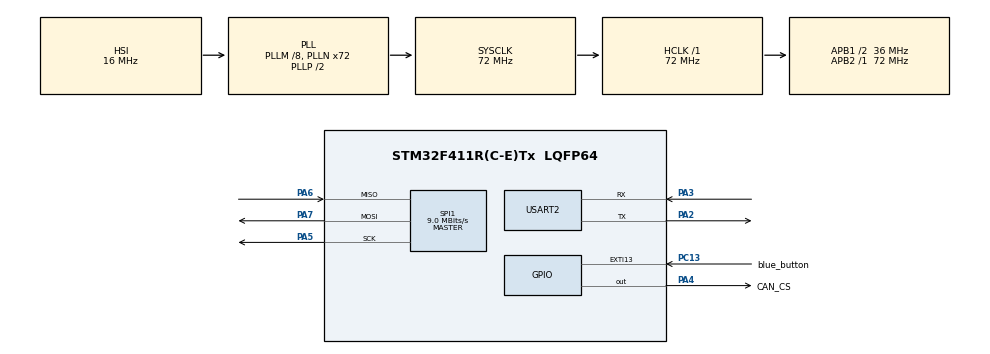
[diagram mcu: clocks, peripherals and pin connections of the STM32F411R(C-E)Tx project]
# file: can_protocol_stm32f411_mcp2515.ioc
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Mcu.Family=STM32F4
Mcu.Name=STM32F411R(C-E)Tx
Mcu.Package=LQFP64
NVIC.EXTI15_10_IRQn=true\:0\:0\:false\:false\:true\:true\:true\:true
NVIC.PriorityGroup=NVIC_PRIORITYGROUP_4
PA13.Mode=Serial_Wire
PA13.Signal=SYS_JTMS-SWDIO
PA14.Mode=Serial_Wire
PA14.Signal=SYS_JTCK-SWCLK
PA2.Mode=Asynchronous
PA2.Signal=USART2_TX
PA3.Mode=Asynchronous
PA3.Signal=USART2_RX
PA4.GPIO_Label=CAN_CS
PA4.GPIO_Speed=GPIO_SPEED_FREQ_MEDIUM
PA4.PinState=GPIO_PIN_SET
PA4.Signal=GPIO_Output
PA5.Mode=Full_Duplex_Master
PA5.Signal=SPI1_SCK
PA6.Mode=Full_Duplex_Master
PA6.Signal=SPI1_MISO
PA7.Mode=Full_Duplex_Master
PA7.Signal=SPI1_MOSI
PC13-ANTI_TAMP.GPIO_Label=blue_button
PC13-ANTI_TAMP.GPIO_ModeDefaultEXTI=GPIO_MODE_IT_FALLING
PC13-ANTI_TAMP.GPIO_PuPd=GPIO_PULLUP
PC13-ANTI_TAMP.Signal=GPXTI13
ProjectManager.HeapSize=0x200
ProjectManager.StackSize=0x400
ProjectManager.TargetToolchain=STM32CubeIDE
RCC.48MHZClocksFreq_Value=36000000
RCC.AHBFreq_Value=72000000
RCC.APB1CLKDivider=RCC_HCLK_DIV2
RCC.APB1Freq_Value=36000000
RCC.APB1TimFreq_Value=72000000
RCC.APB2Freq_Value=72000000
RCC.APB2TimFreq_Value=72000000
RCC.CortexFreq_Value=72000000
RCC.HCLKFreq_Value=72000000
RCC.HSE_VALUE=25000000
RCC.HSI_VALUE=16000000
RCC.LSE_VALUE=32768
RCC.PLLM=8
RCC.PLLN=72
RCC.SYSCLKFreq_VALUE=72000000
RCC.SYSCLKSource=RCC_SYSCLKSOURCE_PLLCLK
RCC.VCOOutputFreq_Value=144000000
SPI1.BaudRatePrescaler=SPI_BAUDRATEPRESCALER_8
SPI1.CalculateBaudRate=9.0 MBits/s
SPI1.Direction=SPI_DIRECTION_2LINES
SPI1.Mode=SPI_MODE_MASTER
SPI1.VirtualType=VM_MASTER
USART2.VirtualMode=VM_ASYNC
board=custom

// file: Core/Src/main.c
/* USER CODE BEGIN Header */
/**
  ******************************************************************************
  * @file           : main.c
  * @brief          : Main program body
  ******************************************************************************
  * @attention
  *
  * Copyright (c) 2025 STMicroelectronics.
  * All rights reserved.
  *
  * This software is licensed under terms that can be found in the LICENSE file
  * in the root directory of this software component.
  * If no LICENSE file comes with this software, it is provided AS-IS.
  *
  ******************************************************************************
  */
/* USER CODE END Header */
#include "main.h"

/* USER CODE BEGIN Includes */
#include <stdio.h>
#include "CANSPI.h"
/* USER CODE END Includes */

/* USER CODE BEGIN PD */
#ifdef __GNUC__
/* With GCC, small printf (option LD Linker->Libraries->Small printf
   set to 'Yes') calls __io_putchar() */
#define PUTCHAR_PROTOTYPE int __io_putchar(int ch)
#else
#define PUTCHAR_PROTOTYPE int fputc(int ch, FILE *f)
#endif /* __GNUC__ */

#define MCP2515_EFLG      0x2D
#define MCP2515_TEC       0x1C
#define MCP2515_REC       0x1D
#define MCP2515_TXB0CTRL  0x30
#define MCP2515_CANINTF   0x2C
#define MCP2515_CANCTRL   0x0F
#define MCP2515_CANSTAT   0x0E

/* USER CODE END PD */

SPI_HandleTypeDef hspi1;

UART_HandleTypeDef huart2;

/* USER CODE BEGIN PV */
uint16_t readValue;
uint16_t rxValue;
char sstr[5];
char snum[5];
uCAN_MSG txMessage;
uCAN_MSG rxMessage;
volatile int button_flag = 0;

uCAN_MSG txMessage;
uCAN_MSG rxMessage;

/* USER CODE END PV */

void SystemClock_Config(void);
static void MX_GPIO_Init(void);
static void MX_SPI1_Init(void);
static void MX_USART2_UART_Init(void);
/* USER CODE BEGIN PFP */
extern uint8_t MCP2515_ReadByte(uint8_t addr);
static void dump_mcp2515_debug(const char* tag);
/* USER CODE END PFP */
static void print_can_rx(const uCAN_MSG* m);

int main(void)
{

  /* MCU Configuration--------------------------------------------------------*/

  /* Reset of all peripherals, Initializes the Flash interface and the Systick. */
  HAL_Init();

  /* Configure the system clock */
  SystemClock_Config();

  /* Initialize all configured peripherals */
  MX_GPIO_Init();
  MX_SPI1_Init();
  MX_USART2_UART_Init();
  /* USER CODE BEGIN 2 */
  printf("main start()!!\r\n");
  CANSPI_Initialize();
  HAL_Delay(1000);
  /* USER CODE END 2 */

  /* Infinite loop */
  /* USER CODE BEGIN WHILE */
  while (1)
  {

	    if (CANSPI_Receive(&rxMessage)) {
	        // ① 받은 것 UART로 출력
	        print_can_rx(&rxMessage);

	        // ② 에코(원하면 유지)
	        txMessage.frame.idType = rxMessage.frame.idType;
	        txMessage.frame.id     = rxMessage.frame.id;
	        txMessage.frame.dlc    = rxMessage.frame.dlc;
	        txMessage.frame.data0  = rxMessage.frame.data0 + 1; // 이전엔 ++라서 초기화 안되면 쓰레기될 수 있음
	        txMessage.frame.data1  = rxMessage.frame.data1;
	        txMessage.frame.data2  = rxMessage.frame.data2;
	        txMessage.frame.data3  = rxMessage.frame.data3;
	        txMessage.frame.data4  = rxMessage.frame.data4;
	        txMessage.frame.data5  = rxMessage.frame.data5;
	        txMessage.frame.data6  = rxMessage.frame.data6;
	        txMessage.frame.data7  = rxMessage.frame.data7;

	        if (!CANSPI_Transmit(&txMessage)) {
	            printf("TX echo failed\r\n");
	        }
	    }
		if(button_flag)
		{
			printf("push button()!!\r\n");
			button_flag = 0;
			txMessage.frame.idType = dSTANDARD_CAN_MSG_ID_2_0B;
			txMessage.frame.id = 0x0A;
			txMessage.frame.dlc = 8;
			txMessage.frame.data0 = 1;
			txMessage.frame.data1 = 2;
			txMessage.frame.data2 = 1;
			txMessage.frame.data3 = 2;
			txMessage.frame.data4 = 1;
			txMessage.frame.data5 = 2;
			txMessage.frame.data6 = 1;
			txMessage.frame.data7 = 2;
			if (!CANSPI_Transmit(&txMessage)) {
			   printf("TX failed (CANSPI)\r\n");
			}
			dump_mcp2515_debug("after TX");   // << 여기서 상태 확인
			button_flag = 0;
		}

    /* USER CODE END WHILE */

  }
}

void SystemClock_Config(void)
{
  RCC_OscInitTypeDef RCC_OscInitStruct = {0};
  RCC_ClkInitTypeDef RCC_ClkInitStruct = {0};

  /** Configure the main internal regulator output voltage
  */
  __HAL_RCC_PWR_CLK_ENABLE();
  __HAL_PWR_VOLTAGESCALING_CONFIG(PWR_REGULATOR_VOLTAGE_SCALE1);

  /** Initializes the RCC Oscillators according to the specified parameters
  * in the RCC_OscInitTypeDef structure.
  */
  RCC_OscInitStruct.OscillatorType = RCC_OSCILLATORTYPE_HSI;
  RCC_OscInitStruct.HSIState = RCC_HSI_ON;
  RCC_OscInitStruct.HSICalibrationValue = RCC_HSICALIBRATION_DEFAULT;
  RCC_OscInitStruct.PLL.PLLState = RCC_PLL_ON;
  RCC_OscInitStruct.PLL.PLLSource = RCC_PLLSOURCE_HSI;
  RCC_OscInitStruct.PLL.PLLM = 8;
  RCC_OscInitStruct.PLL.PLLN = 72;
  RCC_OscInitStruct.PLL.PLLP = RCC_PLLP_DIV2;
  RCC_OscInitStruct.PLL.PLLQ = 4;
  if (HAL_RCC_OscConfig(&RCC_OscInitStruct) != HAL_OK)
  {
    Error_Handler();
  }

  /** Initializes the CPU, AHB and APB buses clocks
  */
  RCC_ClkInitStruct.ClockType = RCC_CLOCKTYPE_HCLK|RCC_CLOCKTYPE_SYSCLK
                              |RCC_CLOCKTYPE_PCLK1|RCC_CLOCKTYPE_PCLK2;
  RCC_ClkInitStruct.SYSCLKSource = RCC_SYSCLKSOURCE_PLLCLK;
  RCC_ClkInitStruct.AHBCLKDivider = RCC_SYSCLK_DIV1;
  RCC_ClkInitStruct.APB1CLKDivider = RCC_HCLK_DIV2;
  RCC_ClkInitStruct.APB2CLKDivider = RCC_HCLK_DIV1;

  if (HAL_RCC_ClockConfig(&RCC_ClkInitStruct, FLASH_LATENCY_2) != HAL_OK)
  {
    Error_Handler();
  }
}

static void MX_SPI1_Init(void)
{

  /* SPI1 parameter configuration*/
  hspi1.Instance = SPI1;
  hspi1.Init.Mode = SPI_MODE_MASTER;
  hspi1.Init.Direction = SPI_DIRECTION_2LINES;
  hspi1.Init.DataSize = SPI_DATASIZE_8BIT;
  hspi1.Init.CLKPolarity = SPI_POLARITY_LOW;
  hspi1.Init.CLKPhase = SPI_PHASE_1EDGE;
  hspi1.Init.NSS = SPI_NSS_SOFT;
  hspi1.Init.BaudRatePrescaler = SPI_BAUDRATEPRESCALER_8;
  hspi1.Init.FirstBit = SPI_FIRSTBIT_MSB;
  hspi1.Init.TIMode = SPI_TIMODE_DISABLE;
  hspi1.Init.CRCCalculation = SPI_CRCCALCULATION_DISABLE;
  hspi1.Init.CRCPolynomial = 10;
  if (HAL_SPI_Init(&hspi1) != HAL_OK)
  {
    Error_Handler();
  }

}

static void MX_USART2_UART_Init(void)
{

  huart2.Instance = USART2;
  huart2.Init.BaudRate = 115200;
  huart2.Init.WordLength = UART_WORDLENGTH_8B;
  huart2.Init.StopBits = UART_STOPBITS_1;
  huart2.Init.Parity = UART_PARITY_NONE;
  huart2.Init.Mode = UART_MODE_TX_RX;
  huart2.Init.HwFlowCtl = UART_HWCONTROL_NONE;
  huart2.Init.OverSampling = UART_OVERSAMPLING_16;
  if (HAL_UART_Init(&huart2) != HAL_OK)
  {
    Error_Handler();
  }

}

static void MX_GPIO_Init(void)
{
  GPIO_InitTypeDef GPIO_InitStruct = {0};

  /* GPIO Ports Clock Enable */
  __HAL_RCC_GPIOC_CLK_ENABLE();
  __HAL_RCC_GPIOA_CLK_ENABLE();

  /*Configure GPIO pin Output Level */
  HAL_GPIO_WritePin(CAN_CS_GPIO_Port, CAN_CS_Pin, GPIO_PIN_SET);

  /*Configure GPIO pin : blue_button_Pin */
  GPIO_InitStruct.Pin = blue_button_Pin;
  GPIO_InitStruct.Mode = GPIO_MODE_IT_FALLING;
  GPIO_InitStruct.Pull = GPIO_PULLUP;
  HAL_GPIO_Init(blue_button_GPIO_Port, &GPIO_InitStruct);

  /*Configure GPIO pin : CAN_CS_Pin */
  GPIO_InitStruct.Pin = CAN_CS_Pin;
  GPIO_InitStruct.Mode = GPIO_MODE_OUTPUT_PP;
  GPIO_InitStruct.Pull = GPIO_NOPULL;
  GPIO_InitStruct.Speed = GPIO_SPEED_FREQ_MEDIUM;
  HAL_GPIO_Init(CAN_CS_GPIO_Port, &GPIO_InitStruct);

  /* EXTI interrupt init*/
  HAL_NVIC_SetPriority(EXTI15_10_IRQn, 0, 0);
  HAL_NVIC_EnableIRQ(EXTI15_10_IRQn);

}

/* USER CODE BEGIN 4 */

static void dump_mcp2515_debug(const char* tag) {
    uint8_t eflg = MCP2515_ReadByte(MCP2515_EFLG);
    uint8_t tec  = MCP2515_ReadByte(MCP2515_TEC);
    uint8_t rec  = MCP2515_ReadByte(MCP2515_REC);
    uint8_t txb0 = MCP2515_ReadByte(MCP2515_TXB0CTRL);
    uint8_t intf = MCP2515_ReadByte(MCP2515_CANINTF);
    uint8_t stat = MCP2515_ReadByte(MCP2515_CANSTAT);
    printf("[%s] EFLG=0x%02X TEC=%u REC=%u TXB0CTRL=0x%02X CANINTF=0x%02X CANSTAT=0x%02X\r\n",
           tag, eflg, tec, rec, txb0, intf, stat);
}

PUTCHAR_PROTOTYPE
{
  /* Place your implementation of fputc here */
  /* e.g. write a character to the USART6 and Loop until the end of transmission */
  HAL_UART_Transmit(&huart2, (uint8_t *)&ch, 1, 0xFFFF);

  return ch;
}

void HAL_GPIO_EXTI_Callback(uint16_t GPIO_Pin)
{
	button_flag = 1;
}
static void print_can_rx(const uCAN_MSG* m) {
    printf("RX std 0x%03lX DLC=%lu : %02X %02X %02X %02X %02X %02X %02X %02X\r\n",
           (unsigned long)m->frame.id,
           (unsigned long)m->frame.dlc,
           m->frame.data0, m->frame.data1, m->frame.data2, m->frame.data3,
           m->frame.data4, m->frame.data5, m->frame.data6, m->frame.data7);
}
/* USER CODE END 4 */

void Error_Handler(void)
{
  __disable_irq();
  while (1)
  {
  }
}
